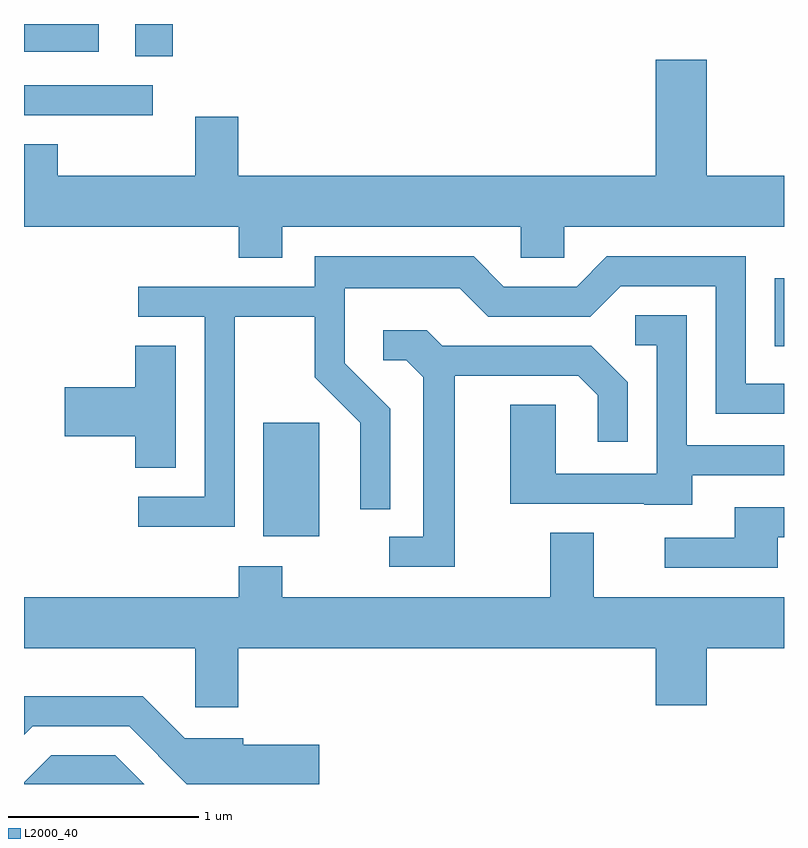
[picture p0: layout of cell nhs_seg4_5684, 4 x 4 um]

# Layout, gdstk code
import gdstk
lib = gdstk.Library(unit=1e-6, precision=1e-09)
def R(c, l, rs):  # rectangles x0, y0, x1, y1
    for r in rs: c.add(gdstk.rectangle(r[:2], r[2:], *l))
def P(c, l, *ps):  # polygons
    for p in ps: c.add(gdstk.Polygon(p, *l))
L2000_40 = (2000, 40)

nhs_seg4_5684 = lib.new_cell('nhs_seg4_5684')
R(nhs_seg4_5684, L2000_40, [(352.871,1335.286,353.164,1335.884), (355.561,1336.286,355.611,1336.643), (351.611,1337.501,352.288,1337.659), (352.196,1337.811,352.394,1337.982), (351.611,1337.836,352.004,1337.982)])
P(nhs_seg4_5684, L2000_40, [(352.739,1337.494),(352.511,1337.494),(352.511,1337.184),(351.789,1337.184),(351.789,1337.349),(351.611,1337.349),(351.611,1336.916),(352.741,1336.916),(352.741,1336.751),(352.969,1336.751),(352.969,1336.916),(354.226,1336.916),(354.226,1336.751),(354.454,1336.751),(354.454,1336.916),(355.611,1336.916),(355.611,1337.184),(355.204,1337.184),(355.204,1337.794),(354.936,1337.794),(354.936,1337.184),(352.739,1337.184)],
  [(352.719,1336.441),(353.141,1336.441),(353.141,1336.124),(353.381,1335.884),(353.381,1335.428),(353.539,1335.428),(353.539,1335.957),(353.299,1336.197),(353.299,1336.591),(353.904,1336.591),(354.054,1336.441),(354.592,1336.441),(354.752,1336.601),(355.251,1336.601),(355.251,1335.931),(355.611,1335.931),(355.611,1336.089),(355.409,1336.089),(355.409,1336.759),(354.679,1336.759),(354.519,1336.599),(354.137,1336.599),(353.977,1336.759),(353.141,1336.759),(353.141,1336.599),(352.213,1336.599),(352.213,1336.441),(352.561,1336.441),(352.561,1335.494),(352.213,1335.494),(352.213,1335.336),(352.719,1335.336)],
  [(355.129,1335.606),(355.611,1335.606),(355.611,1335.764),(355.099,1335.764),(355.099,1336.449),(354.828,1336.449),(354.828,1336.291),(354.941,1336.291),(354.941,1335.614),(354.409,1335.614),(354.409,1335.979),(354.171,1335.979),(354.171,1335.456),(354.875,1335.456),(354.875,1335.451),(355.129,1335.451)],
  [(353.879,1336.131),(354.529,1336.131),(354.631,1336.029),(354.631,1335.783),(354.789,1335.783),(354.789,1336.097),(354.597,1336.289),(353.812,1336.289),(353.732,1336.369),(353.503,1336.369),(353.503,1336.211),(353.624,1336.211),(353.711,1336.124),(353.711,1335.284),(353.533,1335.284),(353.533,1335.126),(353.879,1335.126)],
  [(352.409,1336.289),(352.196,1336.289),(352.196,1336.069),(351.826,1336.069),(351.826,1335.811),(352.196,1335.811),(352.196,1335.646),(352.409,1335.646)],
  [(355.579,1335.281),(355.611,1335.281),(355.611,1335.439),(355.351,1335.439),(355.351,1335.279),(354.983,1335.279),(354.983,1335.121),(355.579,1335.121)],
  [(352.739,1334.696),(354.936,1334.696),(354.936,1334.396),(355.204,1334.396),(355.204,1334.696),(355.611,1334.696),(355.611,1334.964),(354.609,1334.964),(354.609,1335.304),(354.381,1335.304),(354.381,1334.964),(352.969,1334.964),(352.969,1335.129),(352.741,1335.129),(352.741,1334.964),(351.611,1334.964),(351.611,1334.696),(352.511,1334.696),(352.511,1334.386),(352.739,1334.386)],
  [(353.164,1334.189),(352.764,1334.189),(352.764,1334.224),(352.457,1334.224),(352.237,1334.444),(351.611,1334.444),(351.611,1334.24),(351.657,1334.286),(352.164,1334.286),(352.468,1333.982),(353.164,1333.982)],
  [(352.092,1334.134),(351.754,1334.134),(351.611,1333.991),(351.611,1333.982),(352.244,1333.982)])

lib.write_gds('nhs_seg4_5684.gds')
